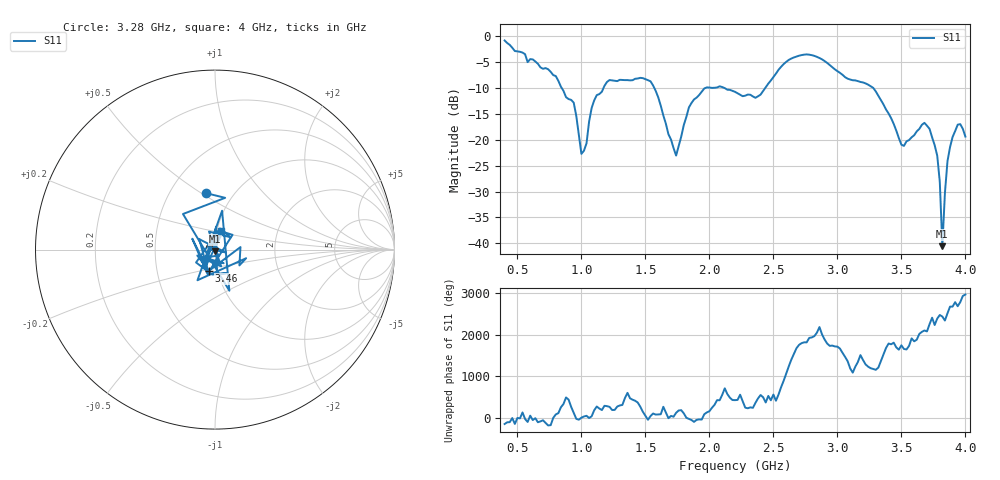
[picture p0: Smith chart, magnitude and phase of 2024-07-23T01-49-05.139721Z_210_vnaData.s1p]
!Created with skrf (http://scikit-rf.org).
# Hz S RI R 50.0
!freq ReS11 ImS11
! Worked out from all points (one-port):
!   181 points, 400 MHz to 4 GHz, reference 50 ohm
!   lowest |S11| = -40.5 dB at 3.82 GHz (marker M1), VSWR 1.02, Z = 50 - j0.938 ohm
!   |S11| at or under -10 dB: 846.9 MHz to 1.172 GHz (325.3 MHz wide, 32.2 % of centre); 1.57 GHz to 1.966 GHz (395.9 MHz wide, 22.4 % of centre); 3.282 GHz to end of sweep (the widest 3 of 4)
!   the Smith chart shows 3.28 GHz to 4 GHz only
!   S11 on the Smith chart (normalised r, x): 3.28 GHz: 0.75, +0.52; 3.46 GHz: 0.91, -0.22; 4 GHz: 1.04, +0.22
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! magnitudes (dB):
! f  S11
! 400 MHz  -0.8
! 860 MHz  -10.5
! 940 MHz  -12.8
! 1 GHz  -22.7
! 1.12 GHz  -11.3
! 1.3 GHz  -8.4
! 1.54 GHz  -8.7
! 1.74 GHz  -23.0
! 1.76 GHz  -21.2
! 1.84 GHz  -13.7
! 1.96 GHz  -10.1
! 2.2 GHz  -10.7
! 2.36 GHz  -11.9
! 2.66 GHz  -4.1
! 2.84 GHz  -4.0
! 3.1 GHz  -8.3
! 3.28 GHz  -9.9
! 3.46 GHz  -18.2
! 3.5 GHz  -20.9
! 3.56 GHz  -20.0
! 3.72 GHz  -17.9
! 3.78 GHz  -23.0
! 3.8 GHz  -28.1
! 3.82 GHz  -40.5
! 3.84 GHz  -30.3
! 3.88 GHz  -21.4
! 3.94 GHz  -17.1
! 4 GHz  -19.4
